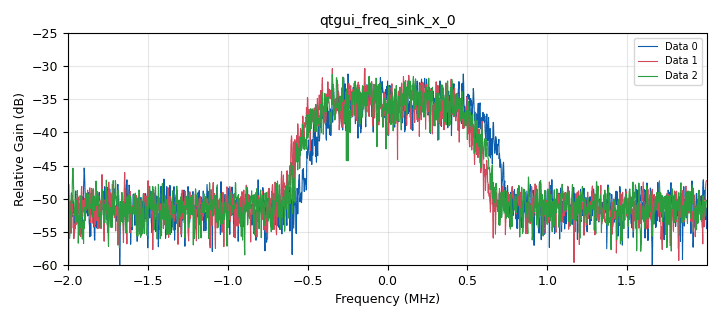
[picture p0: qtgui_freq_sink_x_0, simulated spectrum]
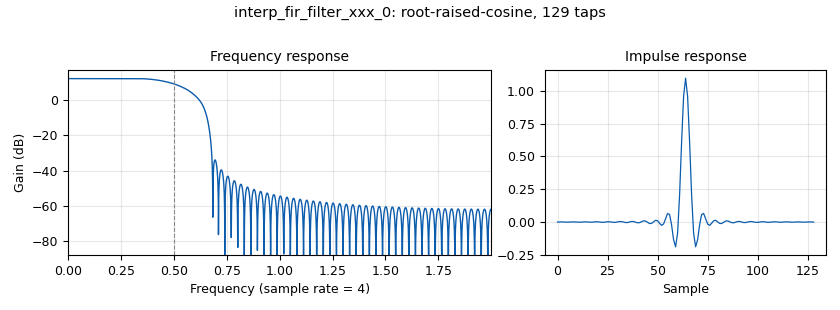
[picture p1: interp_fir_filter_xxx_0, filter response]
options:
  parameters:
    author: Daniel Estevez
    generate_options: qt_gui
    generator_class_name: PythonQtGuiGenerator
    generator_module: gnuradio.grc.workflows.python_qt_gui
    id: fll_comparison
    output_language: python
    title: FLL Band-Edge loop filter comparison
  states: {}

blocks:
- name: freq_error
  id: variable
  parameters:
    value: 0.1 / sps
  states: {}
- name: loop_bw
  id: variable
  parameters:
    value: 2 * np.pi / 100
  states: {}
- name: new_loop_bw
  id: variable
  parameters:
    value: '1.6e-3'
  states: {}
- name: rrc_alpha
  id: variable
  parameters:
    value: '0.35'
  states: {}
- name: samp_rate
  id: variable
  parameters:
    value: 1_000_000 * sps
  states: {}
- name: sps
  id: variable
  parameters:
    value: '4'
  states: {}
- name: analog_noise_source_x_0
  id: analog_noise_source_x
  parameters:
    amp: np.sqrt(0.1)
    noise_type: analog.GR_GAUSSIAN
    seed: '0'
    type: complex
  states: {}
- name: analog_random_uniform_source_x_0
  id: analog_random_uniform_source_x
  parameters:
    maximum: '256'
    minimum: '0'
    seed: '0'
    type: byte
  states: {}
- name: blocks_add_const_vxx_0
  id: blocks_add_const_vxx
  parameters:
    const: '-1'
    type: float
  states: {}
- name: blocks_add_xx_0
  id: blocks_add_xx
  parameters:
    type: complex
  states: {}
- name: blocks_char_to_float_0
  id: blocks_char_to_float
  parameters:
    scale: '0.5'
  states: {}
- name: blocks_file_sink_0
  id: blocks_file_sink
  parameters:
    file: /tmp/freq_new.f32
    type: float
  states: {}
- name: blocks_file_sink_0_0
  id: blocks_file_sink
  parameters:
    file: /tmp/phase_new.f32
    type: float
  states: {}
- name: blocks_file_sink_0_0_0
  id: blocks_file_sink
  parameters:
    file: /tmp/error_new.f32
    type: float
  states: {}
- name: blocks_file_sink_0_0_0_0
  id: blocks_file_sink
  parameters:
    file: /tmp/error.f32
    type: float
  states: {}
- name: blocks_file_sink_0_0_1
  id: blocks_file_sink
  parameters:
    file: /tmp/phase.f32
    type: float
  states: {}
- name: blocks_file_sink_0_1
  id: blocks_file_sink
  parameters:
    file: /tmp/freq.f32
    type: float
  states: {}
- name: blocks_float_to_complex_0
  id: blocks_float_to_complex
  parameters: {}
  states: {}
- name: blocks_head_0
  id: blocks_head
  parameters:
    num_items: samp_rate
    type: complex
  states: {}
- name: blocks_null_source_0
  id: blocks_null_source
  parameters:
    type: float
  states: {}
- name: blocks_rotator_cc_0
  id: blocks_rotator_cc
  parameters:
    phase_inc: 2 * np.pi * freq_error
  states: {}
- name: blocks_throttle2_0
  id: blocks_throttle2
  parameters:
    samples_per_second: samp_rate
    type: complex
  states: {state: bypassed}
- name: blocks_unpack_k_bits_bb_0
  id: blocks_unpack_k_bits_bb
  parameters:
    k: '8'
  states: {}
- name: digital_fll_band_edge_cc_0
  id: digital_fll_band_edge_cc
  parameters:
    filter_size: '64'
    improved_loop_filter: 'True'
    rolloff: rrc_alpha
    samps_per_sym: sps
    type: cc
    w: new_loop_bw
  states: {}
- name: digital_fll_band_edge_cc_0_0
  id: digital_fll_band_edge_cc
  parameters:
    filter_size: '64'
    improved_loop_filter: 'False'
    rolloff: rrc_alpha
    samps_per_sym: sps
    type: cc
    w: loop_bw
  states: {}
- name: import_0
  id: import
  parameters:
    imports: import numpy as np
  states: {}
- name: interp_fir_filter_xxx_0
  id: interp_fir_filter_xxx
  parameters:
    interp: sps
    taps: firdes.root_raised_cosine(sps, sps, 1, rrc_alpha, 32 * sps)
    type: fff
  states: {}
- name: qtgui_freq_sink_x_0
  id: qtgui_freq_sink_x
  parameters:
    average: '0.2'
    bw: samp_rate
    fc: '0'
    fftsize: '2048'
    nconnections: '3'
    type: complex
    ymax: '-25'
    ymin: '-60'
  states: {}

connections:
- [analog_noise_source_x_0, '0', blocks_add_xx_0, '1']
- [analog_random_uniform_source_x_0, '0', blocks_unpack_k_bits_bb_0, '0']
- [blocks_add_const_vxx_0, '0', interp_fir_filter_xxx_0, '0']
- [blocks_add_xx_0, '0', blocks_head_0, '0']
- [blocks_char_to_float_0, '0', blocks_add_const_vxx_0, '0']
- [blocks_float_to_complex_0, '0', blocks_throttle2_0, '0']
- [blocks_head_0, '0', blocks_rotator_cc_0, '0']
- [blocks_null_source_0, '0', blocks_float_to_complex_0, '1']
- [blocks_rotator_cc_0, '0', digital_fll_band_edge_cc_0, '0']
- [blocks_rotator_cc_0, '0', digital_fll_band_edge_cc_0_0, '0']
- [blocks_rotator_cc_0, '0', qtgui_freq_sink_x_0, '0']
- [blocks_throttle2_0, '0', blocks_add_xx_0, '0']
- [blocks_unpack_k_bits_bb_0, '0', blocks_char_to_float_0, '0']
- [digital_fll_band_edge_cc_0, '0', qtgui_freq_sink_x_0, '2']
- [digital_fll_band_edge_cc_0, '1', blocks_file_sink_0, '0']
- [digital_fll_band_edge_cc_0, '2', blocks_file_sink_0_0, '0']
- [digital_fll_band_edge_cc_0, '3', blocks_file_sink_0_0_0, '0']
- [digital_fll_band_edge_cc_0_0, '0', qtgui_freq_sink_x_0, '1']
- [digital_fll_band_edge_cc_0_0, '1', blocks_file_sink_0_1, '0']
- [digital_fll_band_edge_cc_0_0, '2', blocks_file_sink_0_0_1, '0']
- [digital_fll_band_edge_cc_0_0, '3', blocks_file_sink_0_0_0_0, '0']
- [interp_fir_filter_xxx_0, '0', blocks_float_to_complex_0, '0']

metadata:
  file_format: 1
  grc_version: v3.11.0.0git-979-gd3eeaa9d
